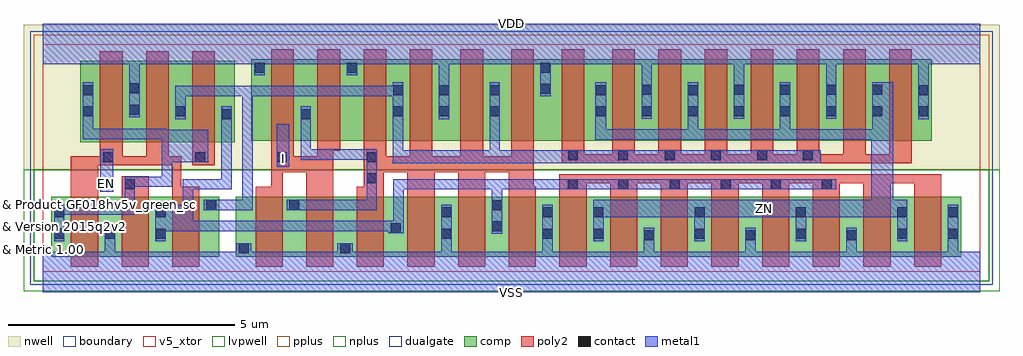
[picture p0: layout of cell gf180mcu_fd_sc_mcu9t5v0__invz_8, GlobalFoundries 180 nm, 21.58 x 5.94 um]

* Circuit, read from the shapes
.subckt gf180mcu_fd_sc_mcu9t5v0__invz_8 EN I VDD VSS ZN
XM1 VSS EN n1 VSUBS nfet_05v0 w=1.32u l=0.6u
XM2 n2 n1 VSS VSUBS nfet_05v0 w=1.32u l=0.6u
XM3 n3 EN n2 VSUBS nfet_05v0 w=1.32u l=0.6u
XM4 n4 I VSS VSUBS nfet_05v0 w=1.32u l=0.6u m=2
XM5 n2 n4 VSS VSUBS nfet_05v0 w=1.32u l=0.6u m=4
XM6 ZN n2 VSS VSUBS nfet_05v0 w=1.32u l=0.6u m=8
XM7 VDD EN n1 n5 pfet_05v0 w=1.8u l=0.5u
XM8 n3 EN VDD n5 pfet_05v0 w=1.8u l=0.5u
XM9 n2 n1 n3 n5 pfet_05v0 w=1.8u l=0.5u
XM10 n4 I VDD n5 pfet_05v0 w=1.8u l=0.5u m=2
XM11 n3 n4 VDD n5 pfet_05v0 w=1.8u l=0.5u m=4
XM12 ZN n3 VDD n5 pfet_05v0 w=1.8u l=0.5u m=8
.ends

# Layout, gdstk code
import gdstk
lib = gdstk.Library(unit=1e-6, precision=1e-09)
def R(c, l, rs):  # rectangles x0, y0, x1, y1
    for r in rs: c.add(gdstk.rectangle(r[:2], r[2:], *l))
def A(c, l, x, y, w, h, nx, ny, dx, dy):  # array of equal rectangles
    R(c, l, [(x+i*dx, y+j*dy, x+i*dx+w, y+j*dy+h) for i in range(nx) for j in range(ny)])
def P(c, l, *ps):  # polygons
    for p in ps: c.add(gdstk.Polygon(p, *l))
boundary = (0, 0)
nwell = (21, 0)
comp = (22, 0)
poly2 = (30, 0)
pplus = (31, 0)
nplus = (32, 0)
contact = (33, 0)
metal1 = (34, 0)
dualgate = (55, 0)
v5_xtor = (112, 1)
lvpwell = (204, 0)

gf180mcu_fd_sc_mcu9t5v0_ = lib.new_cell('gf180mcu_fd_sc_mcu9t5v0__invz_8')
R(gf180mcu_fd_sc_mcu9t5v0_, boundary, [(0,0,20.72,5.04)])
R(gf180mcu_fd_sc_mcu9t5v0_, nwell, [(-0.43,2.265,21.15,5.47)])
R(gf180mcu_fd_sc_mcu9t5v0_, comp, [(0.18,0.34,3.9,1.66), (4.26,0.34,20.3,1.66), (0.82,2.865,4.24,4.665), (4.61,2.9,19.65,4.7)])
R(gf180mcu_fd_sc_mcu9t5v0_, poly2, [(1.74,0.12,2.34,2.12), (3.3,2.36,3.8,4.885)])
P(gf180mcu_fd_sc_mcu9t5v0_, poly2, [(0.62,0.12),(0.62,2.56),(1.26,2.56),(1.26,4.885),(1.76,4.885),(1.76,2.56),(2.28,2.56),(2.28,4.885),(2.78,4.885),(2.78,2.56),(3.06,2.56),(3.06,1.88),(3.46,1.88),(3.46,0.12),(2.86,0.12),(2.86,2.36),(1.22,2.36),(1.22,0.12)],
  [(4.7,0.12),(4.7,1.88),(5.05,1.88),(5.05,4.92),(5.55,4.92),(5.55,2.56),(6.07,2.56),(6.07,4.92),(6.57,4.92),(6.57,2.68),(6.42,2.68),(6.42,0.12),(5.82,0.12),(5.82,2.2),(5.3,2.2),(5.3,0.12)],
  [(6.94,0.12),(6.94,1.88),(7.09,1.88),(7.09,4.92),(7.59,4.92),(7.59,2.56),(8.11,2.56),(8.11,4.92),(8.61,4.92),(8.61,2.56),(9.23,2.56),(9.23,4.92),(9.73,4.92),(9.73,2.56),(10.35,2.56),(10.35,4.92),(10.85,4.92),(10.85,1.88),(10.9,1.88),(10.9,0.12),(10.3,0.12),(10.3,2.2),(9.78,2.2),(9.78,0.12),(9.18,0.12),(9.18,2.2),(8.66,2.2),(8.66,0.12),(8.06,0.12),(8.06,2.2),(7.54,2.2),(7.54,0.12)],
  [(11.47,2.4),(11.47,4.92),(11.97,4.92),(11.97,2.6),(12.59,2.6),(12.59,4.92),(13.09,4.92),(13.09,2.6),(13.61,2.6),(13.61,4.92),(14.11,4.92),(14.11,2.6),(14.63,2.6),(14.63,4.92),(15.13,4.92),(15.13,2.6),(15.65,2.6),(15.65,4.92),(16.15,4.92),(16.15,2.6),(16.67,2.6),(16.67,4.92),(17.17,4.92),(17.17,2.6),(17.69,2.6),(17.69,4.92),(18.19,4.92),(18.19,2.6),(18.71,2.6),(18.71,4.92),(19.21,4.92),(19.21,2.4)],
  [(11.42,0.12),(11.42,2.16),(19.86,2.16),(19.86,0.12),(19.26,0.12),(19.26,1.96),(18.74,1.96),(18.74,0.12),(18.14,0.12),(18.14,1.96),(17.62,1.96),(17.62,0.12),(17.02,0.12),(17.02,1.96),(16.5,1.96),(16.5,0.12),(15.9,0.12),(15.9,1.96),(15.38,1.96),(15.38,0.12),(14.78,0.12),(14.78,1.96),(14.26,1.96),(14.26,0.12),(13.66,0.12),(13.66,1.96),(13.14,1.96),(13.14,0.12),(12.54,0.12),(12.54,1.96),(12.02,1.96),(12.02,0.12)])
R(gf180mcu_fd_sc_mcu9t5v0_, pplus, [(-0.2,2.265,20.92,5.24)])
R(gf180mcu_fd_sc_mcu9t5v0_, nplus, [(-0.2,-0.2,20.92,2.265)])
A(gf180mcu_fd_sc_mcu9t5v0_, contact, 13.29, 0.7, 0.22, 0.22, 3, 1, 2.24, 0)
A(gf180mcu_fd_sc_mcu9t5v0_, contact, 0.25, 0.74, 0.22, 0.22, 3, 1, 1.12, 0)
A(gf180mcu_fd_sc_mcu9t5v0_, contact, 12.17, 0.74, 0.22, 0.22, 4, 2, 2.24, 0.47)
A(gf180mcu_fd_sc_mcu9t5v0_, contact, 13.75, 2.47, 0.22, 0.22, 3, 1, 1.02, 0)
A(gf180mcu_fd_sc_mcu9t5v0_, contact, 15.28, 3.445, 0.22, 0.22, 4, 2, 1.02, 0.47)
R(gf180mcu_fd_sc_mcu9t5v0_, contact, [(4.33,0.41,4.55,0.63), (6.57,0.41,6.79,0.63), (8.81,0.74,9.03,0.96), (11.05,0.74,11.27,0.96), (20.01,0.74,20.23,0.96), (7.69,0.86,7.91,1.08), (9.93,0.9,10.15,1.12), (0.25,1.21,0.47,1.43), (2.49,1.21,2.71,1.43), (8.81,1.21,9.03,1.43), (11.05,1.21,11.27,1.43), (20.01,1.21,20.23,1.43), (3.61,1.37,3.83,1.59), (5.45,1.37,5.67,1.59), (9.93,1.37,10.15,1.59), (1.81,1.83,2.03,2.05), (11.605,1.83,11.825,2.05), (12.72,1.83,12.94,2.05), (13.855,1.83,14.075,2.05), (14.985,1.83,15.205,2.05), (16.09,1.83,16.31,2.05), (17.22,1.83,17.44,2.05), (7.16,1.96,7.38,2.18), (1.33,2.43,1.55,2.65), (3.37,2.43,3.59,2.65), (5.17,2.43,5.39,2.65), (7.16,2.43,7.38,2.65), (11.61,2.47,11.83,2.69), (12.715,2.47,12.935,2.69), (16.805,2.47,17.025,2.69), (3.95,3.38,4.17,3.6), (5.7,3.38,5.92,3.6), (0.89,3.44,1.11,3.66), (2.93,3.44,3.15,3.66), (7.74,3.44,7.96,3.66), (8.76,3.44,8.98,3.66), (9.88,3.44,10.1,3.66), (12.22,3.44,12.44,3.66), (14.26,3.44,14.48,3.66), (19.36,3.44,19.58,3.66), (13.24,3.445,13.46,3.665), (1.91,3.48,2.13,3.7), (0.89,3.91,1.11,4.13), (7.74,3.91,7.96,4.13), (8.76,3.91,8.98,4.13), (9.88,3.91,10.1,4.13), (12.22,3.91,12.44,4.13), (14.26,3.91,14.48,4.13), (19.36,3.91,19.58,4.13), (13.24,3.915,13.46,4.135), (11,3.94,11.22,4.16), (1.91,3.95,2.13,4.17), (4.68,4.41,4.9,4.63), (6.72,4.41,6.94,4.63), (11,4.41,11.22,4.63)])
R(gf180mcu_fd_sc_mcu9t5v0_, metal1, [(1.27,1.77,1.555,2.71), (5.165,2.33,5.45,3.27)])
P(gf180mcu_fd_sc_mcu9t5v0_, metal1, [(0.245,0.68),(0.245,1.49),(1.805,1.49),(1.805,2.11),(2.63,2.11),(2.63,2.94),(0.885,2.94),(0.885,4.19),(1.115,4.19),(1.115,3.17),(2.725,3.17),(2.725,3.15),(3.65,3.15),(3.65,2.425),(2.86,2.425),(2.86,1.88),(2.035,1.88),(2.035,1.26),(0.475,1.26),(0.475,0.68)],
  [(5.39,1.365),(5.39,1.595),(7.155,1.595),(7.155,2.48),(5.695,2.48),(5.695,3.66),(5.925,3.66),(5.925,2.71),(7.385,2.71),(7.385,1.365)],
  [(3.55,1.365),(3.55,1.595),(4.405,1.595),(4.405,3.89),(3.155,3.89),(3.155,3.38),(2.925,3.38),(2.925,4.12),(7.735,4.12),(7.735,4.19),(7.965,4.19),(7.965,2.695),(9.875,2.695),(9.875,4.19),(10.105,4.19),(10.105,2.695),(17.195,2.695),(17.195,2.405),(7.735,2.405),(7.735,3.89),(4.635,3.89),(4.635,1.365)],
  [(2.485,0.68),(2.485,1.49),(3.09,1.49),(3.09,2.055),(3.945,2.055),(3.945,3.66),(4.175,3.66),(4.175,1.825),(3.32,1.825),(3.32,1.135),(7.745,1.135),(7.745,2.055),(17.535,2.055),(17.535,1.825),(10.155,1.825),(10.155,0.84),(9.925,0.84),(9.925,1.825),(7.975,1.825),(7.975,0.855),(7.63,0.855),(7.63,0.905),(2.715,0.905),(2.715,0.68)],
  [(12.165,0.68),(12.165,1.595),(18.315,1.595),(18.315,2.925),(12.215,2.925),(12.215,4.19),(12.455,4.19),(12.455,3.155),(14.255,3.155),(14.255,4.19),(14.485,4.19),(14.485,3.155),(16.295,3.155),(16.295,4.195),(16.525,4.195),(16.525,3.155),(18.335,3.155),(18.335,4.195),(18.805,4.195),(18.805,1.595),(19.115,1.595),(19.115,0.68),(18.885,0.68),(18.885,1.21),(16.875,1.21),(16.875,0.68),(16.645,0.68),(16.645,1.215),(14.635,1.215),(14.635,0.68),(14.405,0.68),(14.405,1.21),(12.395,1.21),(12.395,0.68)],
  [(0,-0.45),(0,0.45),(1.365,0.45),(1.365,1.02),(1.595,1.02),(1.595,0.45),(4.27,0.45),(4.27,0.635),(4.61,0.635),(4.61,0.45),(6.51,0.45),(6.51,0.635),(6.85,0.635),(6.85,0.45),(8.805,0.45),(8.805,1.49),(9.035,1.49),(9.035,0.45),(11.045,0.45),(11.045,1.49),(11.275,1.49),(11.275,0.45),(13.285,0.45),(13.285,0.98),(13.515,0.98),(13.515,0.45),(15.525,0.45),(15.525,0.98),(15.755,0.98),(15.755,0.45),(17.765,0.45),(17.765,0.98),(17.995,0.98),(17.995,0.45),(20.005,0.45),(20.005,1.49),(20.235,1.49),(20.235,0.45),(20.72,0.45),(20.72,-0.45)],
  [(8.755,3.38),(8.755,4.59),(6.945,4.59),(6.945,4.35),(6.715,4.35),(6.715,4.59),(4.905,4.59),(4.905,4.35),(4.675,4.35),(4.675,4.59),(2.135,4.59),(2.135,3.42),(1.905,3.42),(1.905,4.59),(0,4.59),(0,5.49),(20.72,5.49),(20.72,4.59),(19.585,4.59),(19.585,3.38),(19.355,3.38),(19.355,4.59),(17.545,4.59),(17.545,3.385),(17.315,3.385),(17.315,4.59),(15.505,4.59),(15.505,3.385),(15.275,3.385),(15.275,4.59),(13.465,4.59),(13.465,3.385),(13.235,3.385),(13.235,4.59),(11.225,4.59),(11.225,3.88),(10.995,3.88),(10.995,4.59),(8.985,4.59),(8.985,3.38)])
R(gf180mcu_fd_sc_mcu9t5v0_, dualgate, [(-0.28,-0.28,21,5.32)])
R(gf180mcu_fd_sc_mcu9t5v0_, v5_xtor, [(0,0,20.72,5.04)])
R(gf180mcu_fd_sc_mcu9t5v0_, lvpwell, [(-0.43,-0.43,21.15,2.265)])
gf180mcu_fd_sc_mcu9t5v0_.add(gdstk.Label('EN', (1.4,1.96), layer=34, texttype=10))
gf180mcu_fd_sc_mcu9t5v0_.add(gdstk.Label('I', (5.32,2.52), layer=34, texttype=10))
gf180mcu_fd_sc_mcu9t5v0_.add(gdstk.Label('VDD', (10.36,5.49), layer=34, texttype=10))
gf180mcu_fd_sc_mcu9t5v0_.add(gdstk.Label('VSS', (10.36,-0.45), layer=34, texttype=10))
gf180mcu_fd_sc_mcu9t5v0_.add(gdstk.Label('ZN', (15.96,1.4), layer=34, texttype=10))
gf180mcu_fd_sc_mcu9t5v0_.add(gdstk.Label('& Vendor GLOBALFOUNDRIES', (0,2), layer=63, texttype=63))
gf180mcu_fd_sc_mcu9t5v0_.add(gdstk.Label('& Product GF018hv5v_green_sc9', (0,1.5), layer=63, texttype=63))
gf180mcu_fd_sc_mcu9t5v0_.add(gdstk.Label('& Version 2015q2v2', (0,1), layer=63, texttype=63))
gf180mcu_fd_sc_mcu9t5v0_.add(gdstk.Label('& Metric 1.00', (0,0.5), layer=63, texttype=63))

lib.write_gds('gf180mcu_fd_sc_mcu9t5v0__invz_8.gds')
